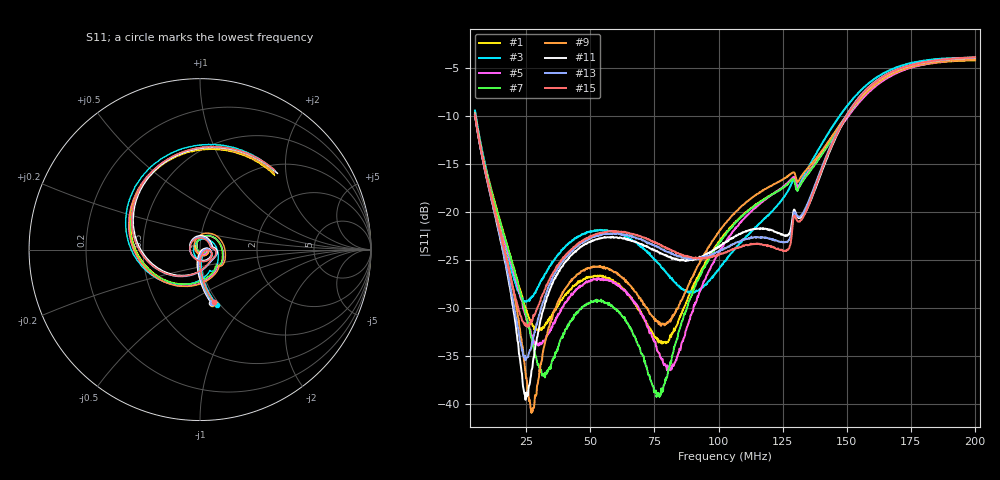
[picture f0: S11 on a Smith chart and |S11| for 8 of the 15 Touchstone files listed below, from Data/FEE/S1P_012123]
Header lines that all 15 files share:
# Hz S DB R 50
! CMT, M5045, 22160017, 22.4.3/2
! Data: Format (Calibration Info)
! Freq	S11:dB/Ang(F1)
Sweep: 5 MHz to 200 MHz
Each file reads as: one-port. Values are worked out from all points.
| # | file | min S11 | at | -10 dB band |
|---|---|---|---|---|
| 1 | SN0273-A_S11_21Jan2023.s1p | -33.7 dB | 77.93 MHz | 144.5 MHz wide |
| 2 | SN0340-B_S11_21Jan2023.s1p | -35.1 dB | 26.84 MHz | 145.9 MHz wide |
| 3 | SN0451-A_S11_21Jan2023.s1p | -29.4 dB | 24.89 MHz | 141.9 MHz wide |
| 4 | SN0715-A_S11_21Jan2023.s1p | -41.7 dB | 78.52 MHz | 143.7 MHz wide |
| 5 | SN0738-A_S11_21Jan2023.s1p | -36.5 dB | 80.47 MHz | 145.7 MHz wide |
| 6 | SN0763-A_S11_21Jan2023.s1p | -45.2 dB | 27.62 MHz | 143.9 MHz wide |
| 7 | SN0789-A_S11_21Jan2023.s1p | -39.3 dB | 75.78 MHz | 145.1 MHz wide |
| 8 | SN0820-A_S11_21Jan2023.s1p | -38.6 dB | 28.59 MHz | 145.1 MHz wide |
| 9 | SN0839-A_S11_21Jan2023.s1p | -41.0 dB | 27.04 MHz | 144.7 MHz wide |
| 10 | SN0856-B_S11_21Jan2023.s1p | -34.1 dB | 25.86 MHz | 145 MHz wide |
| 11 | SN0860-B_S11_21Jan2023.s1p | -39.6 dB | 24.7 MHz | 145 MHz wide |
| 12 | SN0905-B_S11_21Jan2023.s1p | -35.0 dB | 22.94 MHz | 145.4 MHz wide |
| 13 | SN0906-B_S11_21Jan2023.s1p | -35.5 dB | 24.7 MHz | 144.6 MHz wide |
| 14 | SN0969-B_S11_21Jan2023.s1p | -36.1 dB | 24.7 MHz | 144.7 MHz wide |
| 15 | SN0971-B_S11_21Jan2023.s1p | -32.0 dB | 25.48 MHz | 144.9 MHz wide |
